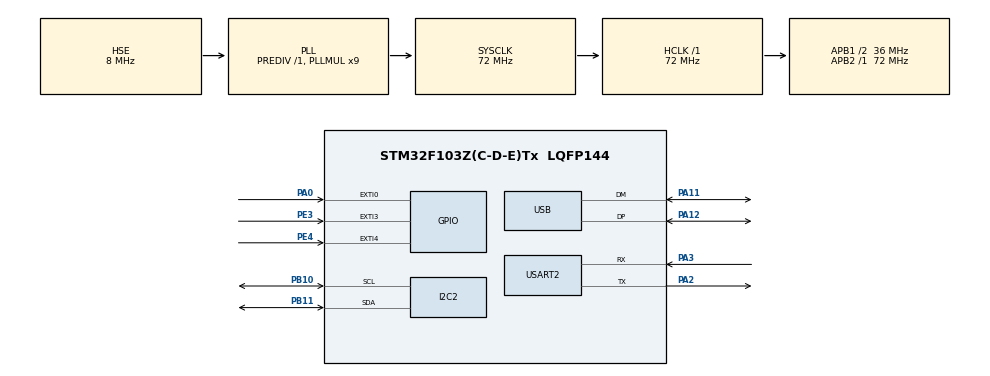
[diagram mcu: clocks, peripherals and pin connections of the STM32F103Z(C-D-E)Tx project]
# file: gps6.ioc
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Dma.Request0=USART2_RX
Dma.USART2_RX.0.Direction=DMA_PERIPH_TO_MEMORY
Dma.USART2_RX.0.Instance=DMA1_Channel6
Dma.USART2_RX.0.MemDataAlignment=DMA_MDATAALIGN_BYTE
Dma.USART2_RX.0.MemInc=DMA_MINC_ENABLE
Dma.USART2_RX.0.Mode=DMA_CIRCULAR
Dma.USART2_RX.0.PeriphDataAlignment=DMA_PDATAALIGN_BYTE
Dma.USART2_RX.0.PeriphInc=DMA_PINC_DISABLE
Dma.USART2_RX.0.Priority=DMA_PRIORITY_LOW
Mcu.Family=STM32F1
Mcu.Name=STM32F103Z(C-D-E)Tx
Mcu.Package=LQFP144
NVIC.DMA1_Channel6_IRQn=true\:0\:0\:false\:false\:true\:false\:true
NVIC.EXTI0_IRQn=true\:0\:0\:false\:false\:true\:true\:true
NVIC.EXTI3_IRQn=true\:0\:0\:false\:false\:true\:true\:true
NVIC.EXTI4_IRQn=true\:0\:0\:false\:false\:true\:true\:true
NVIC.PriorityGroup=NVIC_PRIORITYGROUP_4
NVIC.USART2_IRQn=true\:0\:0\:false\:false\:true\:true\:true
NVIC.USB_LP_CAN1_RX0_IRQn=true\:0\:0\:false\:false\:true\:false\:true
OSC_IN.Mode=HSE-External-Oscillator
OSC_IN.Signal=RCC_OSC_IN
OSC_OUT.Mode=HSE-External-Oscillator
OSC_OUT.Signal=RCC_OSC_OUT
PA0-WKUP.GPIO_ModeDefaultEXTI=GPIO_MODE_IT_FALLING
PA0-WKUP.GPIO_PuPd=GPIO_PULLUP
PA0-WKUP.Signal=GPXTI0
PA11.Mode=Device
PA11.Signal=USB_DM
PA12.Mode=Device
PA12.Signal=USB_DP
PA2.Mode=Asynchronous
PA2.Signal=USART2_TX
PA3.Mode=Asynchronous
PA3.Signal=USART2_RX
PB10.Mode=I2C
PB10.Signal=I2C2_SCL
PB11.Mode=I2C
PB11.Signal=I2C2_SDA
PE3.GPIO_ModeDefaultEXTI=GPIO_MODE_IT_FALLING
PE3.GPIO_PuPd=GPIO_PULLUP
PE3.Signal=GPXTI3
PE4.GPIO_ModeDefaultEXTI=GPIO_MODE_IT_FALLING
PE4.GPIO_PuPd=GPIO_PULLUP
PE4.Signal=GPXTI4
ProjectManager.HeapSize=0x200
ProjectManager.StackSize=0x400
ProjectManager.TargetToolchain=MDK-ARM V5.27
RCC.AHBFreq_Value=72000000
RCC.APB1CLKDivider=RCC_HCLK_DIV2
RCC.APB1Freq_Value=36000000
RCC.APB1TimFreq_Value=72000000
RCC.APB2Freq_Value=72000000
RCC.APB2TimFreq_Value=72000000
RCC.HCLKFreq_Value=72000000
RCC.PLLMUL=RCC_PLL_MUL9
RCC.PLLSourceVirtual=RCC_PLLSOURCE_HSE
RCC.SYSCLKFreq_VALUE=72000000
RCC.SYSCLKSource=RCC_SYSCLKSOURCE_PLLCLK
RCC.USBFreq_Value=48000000
RCC.USBPrescaler=RCC_USBCLKSOURCE_PLL_DIV1_5
USART2.VirtualMode=VM_ASYNC
USB_DEVICE.CLASS_NAME_FS=CDC
USB_DEVICE.VirtualMode=Cdc
USB_DEVICE.VirtualModeFS=Cdc_FS
VP_SYS_VS_ND.Mode=No_Debug
VP_USB_DEVICE_VS_USB_DEVICE_CDC_FS.Mode=CDC_FS
board=custom

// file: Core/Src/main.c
/* USER CODE BEGIN Header */
/**
  ******************************************************************************
  * @file           : main.c
  * @brief          : Main program body
  ******************************************************************************
  * @attention
  *
  * <h2><center>&copy; Copyright (c) 2025 STMicroelectronics.
  * All rights reserved.</center></h2>
  *
  * This software component is licensed by ST under Ultimate Liberty license
  * SLA0044, the "License"; You may not use this file except in compliance with
  * the License. You may obtain a copy of the License at:
  *                             www.st.com/SLA0044
  *
  ******************************************************************************
  */
/* USER CODE END Header */
#include "main.h"
#include "dma.h"
#include "i2c.h"
#include "usart.h"
#include "usb_device.h"
#include "gpio.h"

/* USER CODE BEGIN Includes */
#include "usbd_cdc_if.h"
#include "lcd_i2c.h"
/* USER CODE END Includes */

/* USER CODE BEGIN PV */

uint8_t rxbuffer[1000];
volatile uint8_t uartok=1;
volatile uint16_t rx_length = 0;
volatile int record=0;
volatile int raw_data_trans=0;
volatile int sendposition=0;
const char delimiter[]="\r\n";
typedef struct{
	char time[10];
	float lat;
	char latdir;
	float lon;
	char londir;
	float speed;
	char safe;
}nemarmc;
nemarmc gps;

typedef struct
{
	float N;
	float E;
}track;
track data[600];
int data_index=0;
float degree[2];
float minute[2];
char output[100];
char lcd_row0[20];
char lcd_row1[20];
char lcd_row2[20];
char lcd_row3[20];
uint8_t smiley_char[8] = {
    0b00000,
    0b01010,
    0b01010,
    0b00000,
    0b10001,
    0b01110,
    0b00000,
    0b00000
};

// ????? - ??
uint8_t heart_char[8] = {
    0b00000,
    0b00000,
    0b01010,
    0b11111,
    0b11111,
    0b01110,
    0b00100,
    0b00000
};
/* USER CODE END PV */

void SystemClock_Config(void);

int main(void)
{

  /* MCU Configuration--------------------------------------------------------*/

  /* Reset of all peripherals, Initializes the Flash interface and the Systick. */
  HAL_Init();

  /* Configure the system clock */
  SystemClock_Config();

  /* Initialize all configured peripherals */
  MX_GPIO_Init();
  MX_DMA_Init();
  MX_I2C2_Init();
  MX_USART2_UART_Init();
  MX_USB_DEVICE_Init();
  /* USER CODE BEGIN 2 */
	__HAL_UART_ENABLE_IT(&huart2, UART_IT_IDLE);
  //HAL_TIM_Base_Start_IT(&htim3);
	HAL_UART_Receive_DMA(&huart2,rxbuffer,sizeof(rxbuffer));
	LCD_Init(&hi2c2);
	LCD_Backlight(1);
	LCD_CreateCustomChar(0, smiley_char);
  LCD_CreateCustomChar(1, heart_char);
  /* USER CODE END 2 */

  /* Infinite loop */
  /* USER CODE BEGIN WHILE */
  while (1)
  {
		if(uartok==1)
		{
			uartok=0;
			//strcpy((char*)rxbuffer,"$BDRMC,021429.00,A,2942.95324,N,10647.29473,E,0.26,,190625,,,A,V*21\r\n$BDVTG,,,,,0.26,N,0.49,K,A*22\r\n$BDGGA,021429.00,2942.95324,N,10647.29473,E,1,08,2.1,297.09,M,-35.06,M,,*59\r\n$BDGSA,A,3,07,10,26,29,35,36,38,45,,,,,3.2,2.1,2.4,4*3F\r\n$BDGSV,3,1,11,07,78,061,32,08,,,28,10,77,351,30,13,,,38,1*77\r\n$BDGSV,3,2,11,26,10,314,32,29,56,341,36,35,13,288,34,36,27,204,36,1*7F\r\n$BDGSV,3,3,11,38,71,172,36,40,,,25,45,36,261,35,1*7D\r\n$BDGLL,2942.95324,N,10647.29473,E,021429.00,A,A*7F\r\n$BDZDA,021429.00,19,06,2025,00,00*70\r\n$GPTXT,01,01,01,ANTENNA OPEN*25");
			//rx_length=sizeof(rxbuffer);
			//HAL_Delay(1000);
			if(rx_length>0)
			{
				if(raw_data_trans!=0)CDC_Transmit_FS(rxbuffer,rx_length);
				char *token1=strtok((char*)rxbuffer,delimiter);
				while(token1!=NULL)
				{
					if(strstr(token1,"RMC")!=NULL)
					{
						char *token2=strtok(token1,",");
						int field=0;
						while(token2!=NULL)
						{
							switch(field)
							{
								case 1:
									strncpy(gps.time, token2, sizeof(gps.time)-1);break;
								case 2:
									gps.safe=*token2;break;
								case 3:
									gps.lat=atof(token2);break;
								case 4:
									gps.latdir=*token2;break;
								case 5:
									gps.lon=atof(token2);break;
								case 6:
									gps.londir=*token2;break;
								case 7:
									gps.speed=atof(token2);break;
							}
							token2=strtok(NULL,",");
							field++;

						}
						snprintf(output, sizeof(output),
							"Time: %s, N: %2.4f, E:%2.4f\r\n",
							gps.time,degree[0]+minute[0],degree[1]+minute[1]);
						char time[2]={gps.time[0],gps.time[1]};
						int hour=atoi(time);
						hour+=8;
						snprintf(lcd_row0,sizeof(lcd_row0),
							"TIME:%d:%c%c:%c%c,%d%d%d",hour%24,gps.time[2],gps.time[3],gps.time[4],gps.time[5],record,raw_data_trans,sendposition);
						//CDC_Transmit_FS((uint8_t*)output,strlen(output));
						LCD_Clear();
						LCD_SetCursor(0,0);
						LCD_WriteString(lcd_row0);
						if(gps.safe=='A')
							{
								gps.lat=gps.latdir=='N'?gps.lat:-gps.lat;
								gps.lon=gps.londir=='E'?gps.lon:-gps.lon;
								degree[0]=(int)gps.lat/100;
								minute[0]=(gps.lat-degree[0]*100.0)/60.0;
								degree[1]=(int)gps.lon/100;
								minute[1]=(gps.lon-degree[1]*100.0)/60.0;

								snprintf(lcd_row1,sizeof(lcd_row1),
								"N:%2.4f",degree[0]+minute[0]);
								snprintf(lcd_row2,sizeof(lcd_row2),
									"E:%2.4f",degree[1]+minute[1]);
								snprintf(lcd_row3,sizeof(lcd_row3),
								"V:%.2fkm/h",gps.speed*0.511*3.6);

								if(record!=0)
									{
										LCD_SetCursor(3,19);
										LCD_WriteChar(1);
										data[data_index].N=degree[0]+minute[0];
										data[data_index].E=degree[1]+minute[1];
										data_index++;
									}
									else
									{}
							}
						else
							{
								snprintf(lcd_row1,sizeof(lcd_row1),"N:UNKOWN");
								snprintf(lcd_row2,sizeof(lcd_row2),"E:UNKOWN");
								snprintf(lcd_row3,sizeof(lcd_row3),"V:UNKOWN");
							}
						LCD_SetCursor(1,0);
						LCD_WriteString(lcd_row1);
						LCD_SetCursor(2,0);
						LCD_WriteString(lcd_row2);
						LCD_SetCursor(3,0);
						LCD_WriteString(lcd_row3);
						break;
					}
					else
					{
						LCD_Clear();
						LCD_SetCursor(0,0);
						LCD_WriteString("SR2631 ERROR!");
						LCD_SetCursor(1,0);
						LCD_WriteString("NO RMC");
						HAL_Delay(1000);
					}
					token1=strtok(NULL,delimiter);
				}
				rx_length=0;
				if(sendposition!=0)
				{
					char position[30];
					LCD_SetCursor(0,19);
					LCD_WriteChar(0);
					for(int i=0;i<data_index;i++)
					{
						snprintf(position,sizeof(position),"\x02%f,%f\x03",data[i].N,data[i].E);
						CDC_Transmit_FS((uint8_t*)position,sizeof(position));
					}
					sendposition=0;
				}
				else
				{}
				HAL_UART_Receive_DMA(&huart2,rxbuffer,sizeof(rxbuffer));

		}
		else
		{
			LCD_Clear();
			LCD_SetCursor(0,0);
			LCD_WriteString("SR2631 ERROR!");
			LCD_SetCursor(1,0);
			LCD_WriteString("NO DATA");
			HAL_Delay(1000);
		}
	}
		else
		{}

    /* USER CODE END WHILE */

    /* USER CODE BEGIN 3 */

    /* USER CODE END WHILE */

    /* USER CODE BEGIN 3 */
  }
  /* USER CODE END 3 */
}

void SystemClock_Config(void)
{
  RCC_OscInitTypeDef RCC_OscInitStruct = {0};
  RCC_ClkInitTypeDef RCC_ClkInitStruct = {0};
  RCC_PeriphCLKInitTypeDef PeriphClkInit = {0};

  /** Initializes the RCC Oscillators according to the specified parameters
  * in the RCC_OscInitTypeDef structure.
  */
  RCC_OscInitStruct.OscillatorType = RCC_OSCILLATORTYPE_HSE;
  RCC_OscInitStruct.HSEState = RCC_HSE_ON;
  RCC_OscInitStruct.HSEPredivValue = RCC_HSE_PREDIV_DIV1;
  RCC_OscInitStruct.HSIState = RCC_HSI_ON;
  RCC_OscInitStruct.PLL.PLLState = RCC_PLL_ON;
  RCC_OscInitStruct.PLL.PLLSource = RCC_PLLSOURCE_HSE;
  RCC_OscInitStruct.PLL.PLLMUL = RCC_PLL_MUL9;
  if (HAL_RCC_OscConfig(&RCC_OscInitStruct) != HAL_OK)
  {
    Error_Handler();
  }
  /** Initializes the CPU, AHB and APB buses clocks
  */
  RCC_ClkInitStruct.ClockType = RCC_CLOCKTYPE_HCLK|RCC_CLOCKTYPE_SYSCLK
                              |RCC_CLOCKTYPE_PCLK1|RCC_CLOCKTYPE_PCLK2;
  RCC_ClkInitStruct.SYSCLKSource = RCC_SYSCLKSOURCE_PLLCLK;
  RCC_ClkInitStruct.AHBCLKDivider = RCC_SYSCLK_DIV1;
  RCC_ClkInitStruct.APB1CLKDivider = RCC_HCLK_DIV2;
  RCC_ClkInitStruct.APB2CLKDivider = RCC_HCLK_DIV1;

  if (HAL_RCC_ClockConfig(&RCC_ClkInitStruct, FLASH_LATENCY_2) != HAL_OK)
  {
    Error_Handler();
  }
  PeriphClkInit.PeriphClockSelection = RCC_PERIPHCLK_USB;
  PeriphClkInit.UsbClockSelection = RCC_USBCLKSOURCE_PLL_DIV1_5;
  if (HAL_RCCEx_PeriphCLKConfig(&PeriphClkInit) != HAL_OK)
  {
    Error_Handler();
  }
}

/* USER CODE BEGIN 4 */
void USART2_IRQHandler(void)
{
  if(__HAL_UART_GET_FLAG(&huart2, UART_FLAG_IDLE) != RESET) {
    __HAL_UART_CLEAR_IDLEFLAG(&huart2);

    uint32_t tmp = 0;
    tmp = huart2.hdmarx->Instance->CNDTR;
    rx_length = sizeof(rxbuffer) - tmp;
		HAL_UART_DMAStop(&huart2);
		__disable_irq();
		uartok=1;
		__enable_irq();
  }

  HAL_UART_IRQHandler(&huart2);
}
void HAL_GPIO_EXTI_Callback(uint16_t GPIO_pin)
{
  if(GPIO_pin==GPIO_PIN_3)
  {
		record=!record;
  }

  if(GPIO_pin==GPIO_PIN_4)
  {
		sendposition=!sendposition;
  }
}
/* USER CODE END 4 */

void Error_Handler(void)
{
}

/************************ (C) COPYRIGHT STMicroelectronics *****END OF FILE****/
